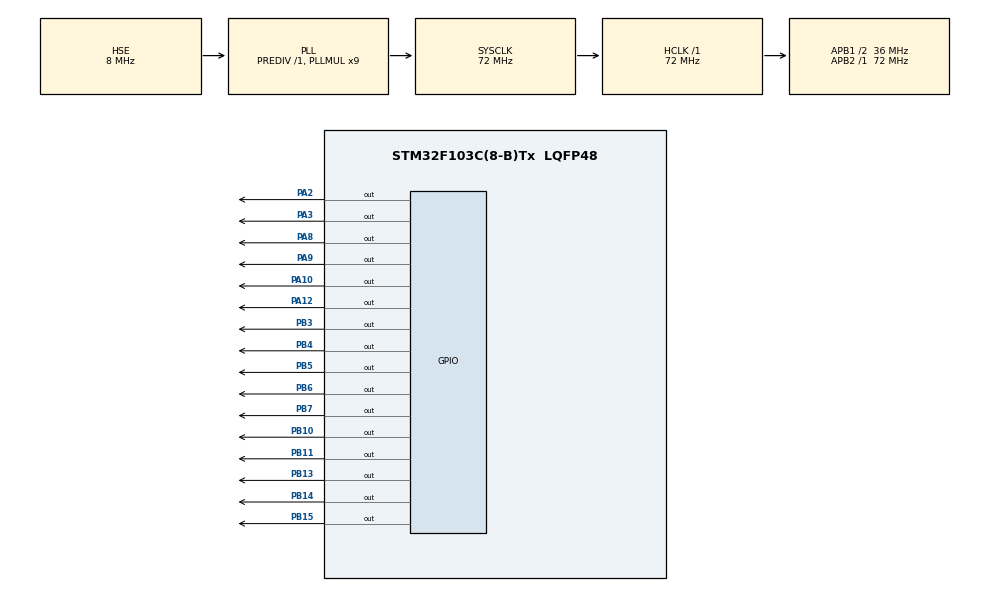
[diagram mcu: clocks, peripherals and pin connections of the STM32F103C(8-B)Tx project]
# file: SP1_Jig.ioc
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Mcu.Family=STM32F1
Mcu.Name=STM32F103C(8-B)Tx
Mcu.Package=LQFP48
NVIC.PriorityGroup=NVIC_PRIORITYGROUP_4
PA10.GPIO_PuPd=GPIO_PULLDOWN
PA10.Signal=GPIO_Output
PA12.GPIO_PuPd=GPIO_PULLDOWN
PA12.Signal=GPIO_Output
PA13.Mode=Serial_Wire
PA13.Signal=SYS_JTMS-SWDIO
PA14.Mode=Serial_Wire
PA14.Signal=SYS_JTCK-SWCLK
PA2.GPIO_PuPd=GPIO_PULLDOWN
PA2.Signal=GPIO_Output
PA3.GPIO_PuPd=GPIO_PULLDOWN
PA3.Signal=GPIO_Output
PA8.GPIO_PuPd=GPIO_PULLDOWN
PA8.Signal=GPIO_Output
PA9.GPIO_PuPd=GPIO_PULLDOWN
PA9.Signal=GPIO_Output
PB10.GPIO_PuPd=GPIO_PULLDOWN
PB10.Signal=GPIO_Output
PB11.GPIO_PuPd=GPIO_PULLDOWN
PB11.Signal=GPIO_Output
PB13.GPIO_PuPd=GPIO_PULLDOWN
PB13.Signal=GPIO_Output
PB14.GPIO_PuPd=GPIO_PULLDOWN
PB14.Signal=GPIO_Output
PB15.GPIO_PuPd=GPIO_PULLDOWN
PB15.Signal=GPIO_Output
PB3.GPIO_PuPd=GPIO_PULLDOWN
PB3.Signal=GPIO_Output
PB4.GPIO_PuPd=GPIO_PULLDOWN
PB4.Signal=GPIO_Output
PB5.GPIO_PuPd=GPIO_PULLDOWN
PB5.Signal=GPIO_Output
PB6.GPIO_PuPd=GPIO_PULLDOWN
PB6.Signal=GPIO_Output
PB7.GPIO_PuPd=GPIO_PULLDOWN
PB7.Signal=GPIO_Output
PC14-OSC32_IN.Mode=LSE-External-Oscillator
PC14-OSC32_IN.Signal=RCC_OSC32_IN
PC15-OSC32_OUT.Mode=LSE-External-Oscillator
PC15-OSC32_OUT.Signal=RCC_OSC32_OUT
PD0-OSC_IN.Mode=HSE-External-Oscillator
PD0-OSC_IN.Signal=RCC_OSC_IN
PD1-OSC_OUT.Mode=HSE-External-Oscillator
PD1-OSC_OUT.Signal=RCC_OSC_OUT
ProjectManager.HeapSize=0x200
ProjectManager.StackSize=0x400
ProjectManager.TargetToolchain=MDK-ARM V5.27
RCC.AHBFreq_Value=72000000
RCC.APB1CLKDivider=RCC_HCLK_DIV2
RCC.APB1Freq_Value=36000000
RCC.APB1TimFreq_Value=72000000
RCC.APB2Freq_Value=72000000
RCC.APB2TimFreq_Value=72000000
RCC.HCLKFreq_Value=72000000
RCC.PLLMUL=RCC_PLL_MUL9
RCC.PLLSourceVirtual=RCC_PLLSOURCE_HSE
RCC.SYSCLKFreq_VALUE=72000000
RCC.SYSCLKSource=RCC_SYSCLKSOURCE_PLLCLK
RCC.USBFreq_Value=72000000
board=custom

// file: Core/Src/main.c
/* USER CODE BEGIN Header */
/**
  ******************************************************************************
  * @file           : main.c
  * @brief          : Main program body
  ******************************************************************************
  * @attention
  *
  * <h2><center>&copy; Copyright (c) 2021 STMicroelectronics.
  * All rights reserved.</center></h2>
  *
  * This software component is licensed by ST under BSD 3-Clause license,
  * the "License"; You may not use this file except in compliance with the
  * License. You may obtain a copy of the License at:
  *                        opensource.org/licenses/BSD-3-Clause
  *
  ******************************************************************************
  */
/* USER CODE END Header */
#include "main.h"

void SystemClock_Config(void);
static void MX_GPIO_Init(void);

/* USER CODE BEGIN 0 */

void Port_J1 ()
{
	//Checking port J1 by toggling the pins
	HAL_GPIO_TogglePin(GPIOB, GPIO_PIN_10);
	HAL_Delay(1000);
	HAL_GPIO_TogglePin(GPIOB, GPIO_PIN_10);
	HAL_Delay(1000);
	HAL_GPIO_TogglePin(GPIOB, GPIO_PIN_11);
	HAL_Delay(1000);
	HAL_GPIO_TogglePin(GPIOB, GPIO_PIN_11);
	HAL_Delay(1000);
}

void Port_J3()
{
	//Checking port J1 by toggling the pins
	HAL_GPIO_TogglePin(GPIOA, GPIO_PIN_2);
	HAL_Delay(1000);
	HAL_GPIO_TogglePin(GPIOA, GPIO_PIN_2);
	HAL_Delay(1000);
	HAL_GPIO_TogglePin(GPIOA, GPIO_PIN_3);
	HAL_Delay(1000);
	HAL_GPIO_TogglePin(GPIOA, GPIO_PIN_3);
	HAL_Delay(1000);
}

void Port_J6()
{
	//Checking port J1 by toggling the pins
	HAL_GPIO_TogglePin(GPIOB, GPIO_PIN_5);
	HAL_Delay(1000);
	HAL_GPIO_TogglePin(GPIOB, GPIO_PIN_5);
	HAL_Delay(1000);
	HAL_GPIO_TogglePin(GPIOB, GPIO_PIN_3);
	HAL_Delay(1000);
	HAL_GPIO_TogglePin(GPIOB, GPIO_PIN_3);
	HAL_Delay(1000);
	HAL_GPIO_TogglePin(GPIOB, GPIO_PIN_4);
	HAL_Delay(1000);
	HAL_GPIO_TogglePin(GPIOB, GPIO_PIN_4);
	HAL_Delay(1000);
	HAL_GPIO_TogglePin(GPIOA, GPIO_PIN_8);
	HAL_Delay(1000);
	HAL_GPIO_TogglePin(GPIOA, GPIO_PIN_8);
	HAL_Delay(1000);
	HAL_GPIO_TogglePin(GPIOA, GPIO_PIN_9);
	HAL_Delay(1000);
	HAL_GPIO_TogglePin(GPIOA, GPIO_PIN_9);
	HAL_Delay(1000);
	HAL_GPIO_TogglePin(GPIOA, GPIO_PIN_10);
	HAL_Delay(1000);
	HAL_GPIO_TogglePin(GPIOA, GPIO_PIN_10);
	HAL_Delay(1000);

}

void Port_J7()
{
	//Checking port J1 by toggling the pins
	HAL_GPIO_TogglePin(GPIOB, GPIO_PIN_7);
	HAL_Delay(1000);
	HAL_GPIO_TogglePin(GPIOB, GPIO_PIN_7);
	HAL_Delay(1000);
	HAL_GPIO_TogglePin(GPIOB, GPIO_PIN_6);
	HAL_Delay(1000);
	HAL_GPIO_TogglePin(GPIOB, GPIO_PIN_6);
	HAL_Delay(1000);
}
/* USER CODE END 0 */

int main(void)
{

  /* MCU Configuration--------------------------------------------------------*/

  /* Reset of all peripherals, Initializes the Flash interface and the Systick. */
  HAL_Init();

  /* Configure the system clock */
  SystemClock_Config();

  /* Initialize all configured peripherals */
  MX_GPIO_Init();

  /* Infinite loop */
  while (1)
  {

    /* USER CODE BEGIN 3 */

		// Blinking the On board LED
		for(int i = 0; i<3; i++)
		{
			HAL_GPIO_TogglePin(GPIOA, GPIO_PIN_12);
			HAL_Delay(1000);
			HAL_GPIO_TogglePin(GPIOA, GPIO_PIN_12);
			HAL_Delay(1000);
		}

		Port_J1();
		Port_J3();
		Port_J7();
		Port_J6();

	}
  /* USER CODE END 3 */
}

void SystemClock_Config(void)
{
  RCC_OscInitTypeDef RCC_OscInitStruct = {0};
  RCC_ClkInitTypeDef RCC_ClkInitStruct = {0};

  /** Initializes the RCC Oscillators according to the specified parameters
  * in the RCC_OscInitTypeDef structure.
  */
  RCC_OscInitStruct.OscillatorType = RCC_OSCILLATORTYPE_HSE;
  RCC_OscInitStruct.HSEState = RCC_HSE_ON;
  RCC_OscInitStruct.HSEPredivValue = RCC_HSE_PREDIV_DIV1;
  RCC_OscInitStruct.HSIState = RCC_HSI_ON;
  RCC_OscInitStruct.PLL.PLLState = RCC_PLL_ON;
  RCC_OscInitStruct.PLL.PLLSource = RCC_PLLSOURCE_HSE;
  RCC_OscInitStruct.PLL.PLLMUL = RCC_PLL_MUL9;
  if (HAL_RCC_OscConfig(&RCC_OscInitStruct) != HAL_OK)
  {
    Error_Handler();
  }
  /** Initializes the CPU, AHB and APB buses clocks
  */
  RCC_ClkInitStruct.ClockType = RCC_CLOCKTYPE_HCLK|RCC_CLOCKTYPE_SYSCLK
                              |RCC_CLOCKTYPE_PCLK1|RCC_CLOCKTYPE_PCLK2;
  RCC_ClkInitStruct.SYSCLKSource = RCC_SYSCLKSOURCE_PLLCLK;
  RCC_ClkInitStruct.AHBCLKDivider = RCC_SYSCLK_DIV1;
  RCC_ClkInitStruct.APB1CLKDivider = RCC_HCLK_DIV2;
  RCC_ClkInitStruct.APB2CLKDivider = RCC_HCLK_DIV1;

  if (HAL_RCC_ClockConfig(&RCC_ClkInitStruct, FLASH_LATENCY_2) != HAL_OK)
  {
    Error_Handler();
  }
}

static void MX_GPIO_Init(void)
{
  GPIO_InitTypeDef GPIO_InitStruct = {0};

  /* GPIO Ports Clock Enable */
  __HAL_RCC_GPIOC_CLK_ENABLE();
  __HAL_RCC_GPIOD_CLK_ENABLE();
  __HAL_RCC_GPIOA_CLK_ENABLE();
  __HAL_RCC_GPIOB_CLK_ENABLE();

  /*Configure GPIO pin Output Level */
  HAL_GPIO_WritePin(GPIOA, GPIO_PIN_2|GPIO_PIN_3|GPIO_PIN_8|GPIO_PIN_9
                          |GPIO_PIN_10|GPIO_PIN_12, GPIO_PIN_RESET);

  /*Configure GPIO pin Output Level */
  HAL_GPIO_WritePin(GPIOB, GPIO_PIN_10|GPIO_PIN_11|GPIO_PIN_13|GPIO_PIN_14
                          |GPIO_PIN_15|GPIO_PIN_3|GPIO_PIN_4|GPIO_PIN_5
                          |GPIO_PIN_6|GPIO_PIN_7, GPIO_PIN_RESET);

  /*Configure GPIO pins : PA2 PA3 PA8 PA9
                           PA10 PA12 */
  GPIO_InitStruct.Pin = GPIO_PIN_2|GPIO_PIN_3|GPIO_PIN_8|GPIO_PIN_9
                          |GPIO_PIN_10|GPIO_PIN_12;
  GPIO_InitStruct.Mode = GPIO_MODE_OUTPUT_PP;
  GPIO_InitStruct.Pull = GPIO_PULLDOWN;
  GPIO_InitStruct.Speed = GPIO_SPEED_FREQ_LOW;
  HAL_GPIO_Init(GPIOA, &GPIO_InitStruct);

  /*Configure GPIO pins : PB10 PB11 PB13 PB14
                           PB15 PB3 PB4 PB5
                           PB6 PB7 */
  GPIO_InitStruct.Pin = GPIO_PIN_10|GPIO_PIN_11|GPIO_PIN_13|GPIO_PIN_14
                          |GPIO_PIN_15|GPIO_PIN_3|GPIO_PIN_4|GPIO_PIN_5
                          |GPIO_PIN_6|GPIO_PIN_7;
  GPIO_InitStruct.Mode = GPIO_MODE_OUTPUT_PP;
  GPIO_InitStruct.Pull = GPIO_PULLDOWN;
  GPIO_InitStruct.Speed = GPIO_SPEED_FREQ_LOW;
  HAL_GPIO_Init(GPIOB, &GPIO_InitStruct);

}

void Error_Handler(void)
{
}

/************************ (C) COPYRIGHT STMicroelectronics *****END OF FILE****/
